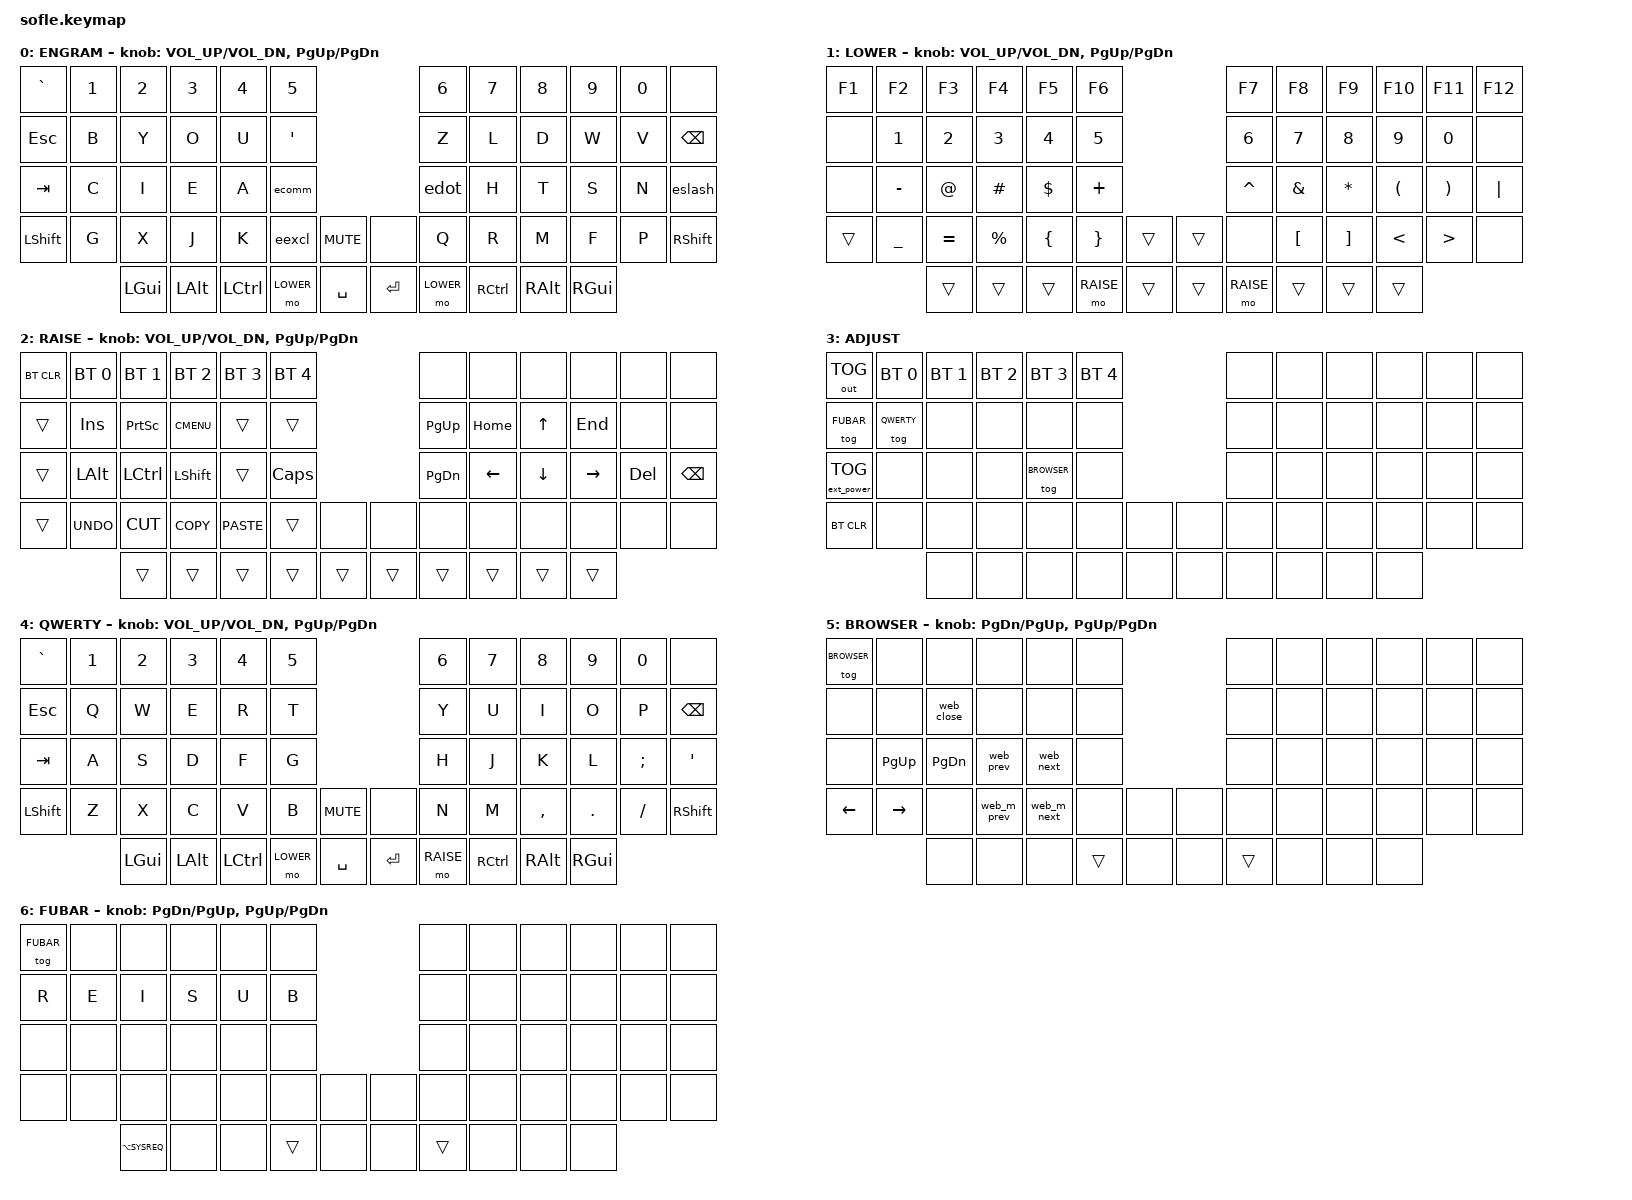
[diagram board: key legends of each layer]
/*
 * Copyright (c) 2020 The ZMK Contributors
 *
 * SPDX-License-Identifier: MIT
 */

#include <behaviors.dtsi>
#include <dt-bindings/zmk/keys.h>
#include <dt-bindings/zmk/bt.h>
#include <dt-bindings/zmk/rgb.h>
#include <dt-bindings/zmk/outputs.h>
#include <dt-bindings/zmk/ext_power.h>

#include "nice_view.dtsi"

#define ENGRAM 0
#define LOWER 1
#define RAISE 2
#define ADJUST 3
#define QWERTY 4
#define BROWSER 5
#define FUBAR 6

/ {

   // Activate ADJUST layer by pressing raise and lower
    conditional_layers {
        compatible = "zmk,conditional-layers";
        adjust_layer {
            if-layers = <LOWER RAISE>;
            then-layer = <ADJUST>;
        };
    };

    macros {
        web_close: web_close {
            compatible = "zmk,behavior-macro";
            #binding-cells = <0>;
            bindings
                = <&macro_press &kp LCTRL>
                , <&macro_tap &kp W>
                , <&macro_release &kp LCTRL>;
        };

        web_prev: web_prev {
            compatible = "zmk,behavior-macro";
            #binding-cells = <0>;
            bindings
                = <&macro_press &kp LCTRL>
                , <&macro_tap &kp PG_UP>
                , <&macro_release &kp LCTRL>;
        };

        web_next: web_next {
            compatible = "zmk,behavior-macro";
            #binding-cells = <0>;
            bindings
                = <&macro_press &kp LCTRL>
                , <&macro_tap &kp PG_DN>
                , <&macro_release &kp LCTRL>;
        };

        web_m_prev: web_m_prev {
            compatible = "zmk,behavior-macro";
            #binding-cells = <0>;
            bindings
                = <&macro_press &kp LCTRL &kp LSHFT>
                , <&macro_tap &kp PG_UP>
                , <&macro_release &kp LCTRL &kp LSHFT>;
        };

        web_m_next: web_m_next {
            compatible = "zmk,behavior-macro";
            #binding-cells = <0>;
            bindings
                = <&macro_press &kp LCTRL &kp LSHFT>
                , <&macro_tap &kp PG_DN>
                , <&macro_release &kp LCTRL &kp LSHFT>;
        };
    };

    behaviors {
        invqt: invert_quote {
            compatible = "zmk,behavior-mod-morph";
            label = "INVERT_QUOTE";
            #binding-cells = <0>;
            bindings = <&kp DOUBLE_QUOTES>, <&kp SINGLE_QUOTE>;
            mods = <(MOD_LSFT|MOD_RSFT)>;
        };

        edot: engram_dot {
            compatible = "zmk,behavior-mod-morph";
            label = "ENGRAM_DOT";
            #binding-cells = <0>;
            bindings = <&kp DOT>, <&kp COLON>;
            mods = <(MOD_LSFT|MOD_RSFT)>;
        };

        ecomm: engram_comma {
            compatible = "zmk,behavior-mod-morph";
            label = "ENGRAM_COMMA";
            #binding-cells = <0>;
            bindings = <&kp COMMA>, <&kp SEMICOLON>;
            mods = <(MOD_LSFT|MOD_RSFT)>;
        };

        eexcl: engram_exclamation {
            compatible = "zmk,behavior-mod-morph";
            label = "ENGRAM_EXCLAMATION";
            #binding-cells = <0>;
            bindings = <&kp EXCLAMATION>, <&kp QUESTION>;
            mods = <(MOD_LSFT|MOD_RSFT)>;
        };

        eslash: engram_slash {
            compatible = "zmk,behavior-mod-morph";
            label = "ENGRAM_SLASH";
            #binding-cells = <0>;
            bindings = <&kp SLASH>, <&kp BACKSLASH>;
            mods = <(MOD_LSFT|MOD_RSFT)>;
	};
    };

    keymap {
        compatible = "zmk,keymap";

        engram_layer {
            label = "ENGRAM";
// ------------------------------------------------------------------------------------------------------------
// |   `   |  1  |  2  |  3   |  4   |  5   |                   |  6   |  7    |  8    |  9   |   0   |       |
// |  ESC  |  B  |  Y  |  O   |  U   |  "'  |                   |  Z   |  L    |  D    |  W   |   V   | BKSPC |
// |  TAB  |  C  |  I  |  E   |  A   |  ,;  |                   |  .:  |  H    |  T    |  S   |   N   | /\    |
// | SHIFT |  G  |  X  |  J   |  K   |  !?  |  MUTE  |  |       |  Q   |  R    |  M    |  F   |   P   | SHIFT |
//               | GUI | ALT  | CTRL | LOWER|  ENTER |  | SPACE | RAISE| CTRL  | ALT   | GUI  |
            bindings = <
&kp GRAVE &kp N1 &kp N2   &kp N3   &kp N4    &kp N5                           &kp N6 &kp N7    &kp N8    &kp N9   &kp N0   &none
&kp ESC   &kp B  &kp Y    &kp O    &kp U     &kp SQT                          &kp Z  &kp L     &kp D     &kp W    &kp V    &kp BSPC
&kp TAB   &kp C  &kp I    &kp E    &kp A     &ecomm                           &edot  &kp H     &kp T     &kp S    &kp N    &eslash
&kp LSHFT &kp G  &kp X    &kp J    &kp K     &eexcl     &kp C_MUTE &none      &kp Q  &kp R     &kp M     &kp F    &kp P    &kp RSHFT
                 &kp LGUI &kp LALT &kp LCTRL &mo LOWER  &kp SPACE  &kp RET    &mo LOWER  &kp RCTRL &kp RALT  &kp RGUI
            >;

            sensor-bindings = <&inc_dec_kp C_VOL_UP C_VOL_DN &inc_dec_kp PG_UP PG_DN>;
        };

        lower_layer {
            label = "LOWER";
// TODO: Some binds are waiting for shifted keycode support.
// ------------------------------------------------------------------------------------------------------------
// | F1    |  F2 |  F3 |  F4  |  F5  |  F6  |                   |  F7  |  F8   |  F9   |  F10 |  F11  |  F12  |
// |       |  1  |  2  |  3   |  4   |  5   |                   |  6   |  7    |  8    |  9   |   0   |       |
// |       |  -  |  @  |  #   |  $   |  +   |                   |  ^   |  &    |  *    |  (   |   )   |   |   |
// |       |  _  |  =  |  %   |  {   |  }   |        |  |       |      |  [    |  ]    |  <   |   >   |       |
//               |     |      |      |      |        |  |       |      |       |       |      |
            bindings = <
&kp F1    &kp F2    &kp F3    &kp F4      &kp F5    &kp F6                    &kp F7    &kp F8   &kp F9    &kp F10    &kp F11   &kp F12
&none     &kp N1    &kp N2    &kp N3      &kp N4    &kp N5                    &kp N6    &kp N7   &kp N8    &kp N9    &kp N0    &none
&none     &kp MINUS &kp AT    &kp HASH    &kp DLLR  &kp PLUS                  &kp CARET &kp AMPS &kp STAR  &kp LPAR  &kp RPAR  &kp PIPE
&trans    &kp UNDER &kp EQUAL &kp PRCNT   &kp LBRC  &kp RBRC   &trans &trans  &none     &kp LBKT &kp RBKT  &kp LT    &kp GT    &none
                    &trans    &trans      &trans    &mo RAISE  &trans &trans  &mo RAISE &trans   &trans    &trans
            >;

            sensor-bindings = <&inc_dec_kp C_VOL_UP C_VOL_DN &inc_dec_kp PG_UP PG_DN>;
        };

        raise_layer {
            label = "RAISE";
// ------------------------------------------------------------------------------------------------------------
// | BTCLR | BT1  | BT2  |  BT3  |  BT4  |  BT5 |                |      |      |       |      |       |       |
// |       | INS  | PSCR | GUI   |       |      |                | PGUP | HOME |   ^   | END  |       |       |
// |       | ALT  | CTRL | SHIFT |       | CAPS |                | PGDN |   <- |   v   |  ->  |  DEL  | BKSPC |
// |       | UNDO | CUT  | COPY  | PASTE |      |      |  |      |      |      |       |      |       |       |
//                |      |       |       |      |      |  |      |      |      |       |      |
            bindings = <
&bt BT_CLR &bt BT_SEL 0 &bt BT_SEL 1 &bt BT_SEL 2 &bt BT_SEL 3 &bt BT_SEL 4                  &none     &none     &none    &none     &none   &none
&trans     &kp INS      &kp PSCRN    &kp K_CMENU  &trans       &trans                        &kp PG_UP &kp HOME  &kp UP   &kp END   &none   &none
&trans     &kp LALT     &kp LCTRL    &kp LSHFT    &trans       &kp CLCK                      &kp PG_DN &kp LEFT  &kp DOWN &kp RIGHT &kp DEL &kp BSPC
&trans     &kp K_UNDO   &kp K_CUT    &kp K_COPY   &kp K_PASTE  &trans        &none   &none   &none     &none     &none    &none     &none   &none
                        &trans       &trans       &trans       &trans        &trans  &trans  &trans    &trans    &trans   &trans
            >;

            sensor-bindings = <&inc_dec_kp C_VOL_UP C_VOL_DN &inc_dec_kp PG_UP PG_DN>;
        };

        adjust_layer {
// ----------------------------------------------------------------------------------------------------------------------------------
// | USB/BT |  BT1    |  BT2    |   BT3   |   BT4   |   BT5   |                   |       |       |        |       |        |        |
// |        | QWERTY  |         |         |         |         |                   |       |       |        |       |        |        |
// | EXTPWR |         |         |         | BROWSER |         |                   |       |       |        |       |        |        |
// | BT_CLR |         |         |         |         |         |         | |       |       |       |        |       |        |        |
//                    |         |         |         |         |         | |       |       |       |        |       |
            label = "ADJUST";
            bindings = <
&out OUT_TOG      &bt BT_SEL 0    &bt BT_SEL 1    &bt BT_SEL 2    &bt BT_SEL 3    &bt BT_SEL 4                            &none &none &none &none &none &none
&tog FUBAR        &tog QWERTY     &none           &none           &none           &none                                   &none &none &none &none &none &none
&ext_power EP_TOG &none           &none           &none           &tog BROWSER    &none                                   &none &none &none &none &none &none
&bt BT_CLR        &none           &none           &none           &none           &none            &none           &none  &none &none &none &none &none &none
                                  &none           &none           &none           &none            &none           &none  &none &none &none &none
            >;
        };

        qwerty_layer {
            label = "QWERTY";
// ------------------------------------------------------------------------------------------------------------
// |   `   |  1  |  2  |  3   |  4   |  5   |                   |  6   |  7    |  8    |  9   |   0   |       |
// |  ESC  |  Q  |  W  |  E   |  R   |  T   |                   |  Y   |  U    |  I    |  O   |   P   | BKSPC |
// |  TAB  |  A  |  S  |  D   |  F   |  G   |                   |  H   |  J    |  K    |  L   |   ;   |   '   |
// | SHIFT |  Z  |  X  |  C   |  V   |  B   |  MUTE  |  |       |  N   |  M    |  ,    |  .   |   /   | SHIFT |
//               | GUI | ALT  | CTRL | LOWER|  ENTER |  | SPACE | RAISE| CTRL  | ALT   | GUI  |
            bindings = <
&kp GRAVE &kp N1 &kp N2   &kp N3   &kp N4    &kp N5                           &kp N6 &kp N7    &kp N8    &kp N9   &kp N0   &none
&kp ESC   &kp Q  &kp W    &kp E    &kp R     &kp T                            &kp Y  &kp U     &kp I     &kp O    &kp P    &kp BSPC
&kp TAB   &kp A  &kp S    &kp D    &kp F     &kp G                            &kp H  &kp J     &kp K     &kp L    &kp SEMI &kp SQT
&kp LSHFT &kp Z  &kp X    &kp C    &kp V     &kp B      &kp C_MUTE &none      &kp N  &kp M     &kp COMMA &kp DOT  &kp FSLH &kp RSHFT
                 &kp LGUI &kp LALT &kp LCTRL &mo LOWER  &kp SPACE  &kp RET    &mo RAISE  &kp RCTRL &kp RALT  &kp RGUI
            >;

            sensor-bindings = <&inc_dec_kp C_VOL_UP C_VOL_DN &inc_dec_kp PG_UP PG_DN>;
        };

        browser_layer {
            label = "BROWSER";
// ----------------------------------------------------------------------------------------------------------------------------------------------
// | BROWSER |         |         |         |         |         |                    |         |         |         |         |         |         |
// |         |         | CLOSE   |         |         |         |                    |         |         |         |         |         |         |
// |         | PG_UP   | PG_UP   | PREV    | NEXT    |         |                    |         |         |         |         |         |         |
// | LEFT    | RIGHT   |         | MOVE_L  | MOVE_R  |         |         | |        |         |         |         |         |         |         |
//                     |         |         |         |         |         | |        |         |         |         |         |

            bindings = <
&tog BROWSER &none     &none      &none       &none       &none                &none  &none &none &none &none &none
&none        &none     &web_close &none       &none       &none                &none  &none &none &none &none &none
&none        &kp PG_UP &kp PG_DN  &web_prev   &web_next   &none                &none  &none &none &none &none &none
&kp LEFT     &kp RIGHT &none      &web_m_prev &web_m_next &none  &none   &none &none  &none &none &none &none &none
                       &none      &none       &none       &trans &none   &none &trans &none &none &none
            >;
            sensor-bindings = <&inc_dec_kp PG_DN PG_UP &inc_dec_kp PG_UP PG_DN>;
        };

        fubar_layer {
            label = "FUBAR";
            bindings = <
&tog FUBAR   &none     &none          &none       &none       &none                &none  &none &none &none &none &none
&kp R        &kp E     &kp I          &kp S       &kp U       &kp B                &none  &none &none &none &none &none
&none        &none     &none          &none       &none       &none                &none  &none &none &none &none &none
&none        &none     &none          &none       &none       &none  &none   &none &none  &none &none &none &none &none
                       &kp LA(SYSREQ) &none       &none       &trans &none   &none &trans &none &none &none
            >;
            sensor-bindings = <&inc_dec_kp PG_DN PG_UP &inc_dec_kp PG_UP PG_DN>;
        };
    };
};
